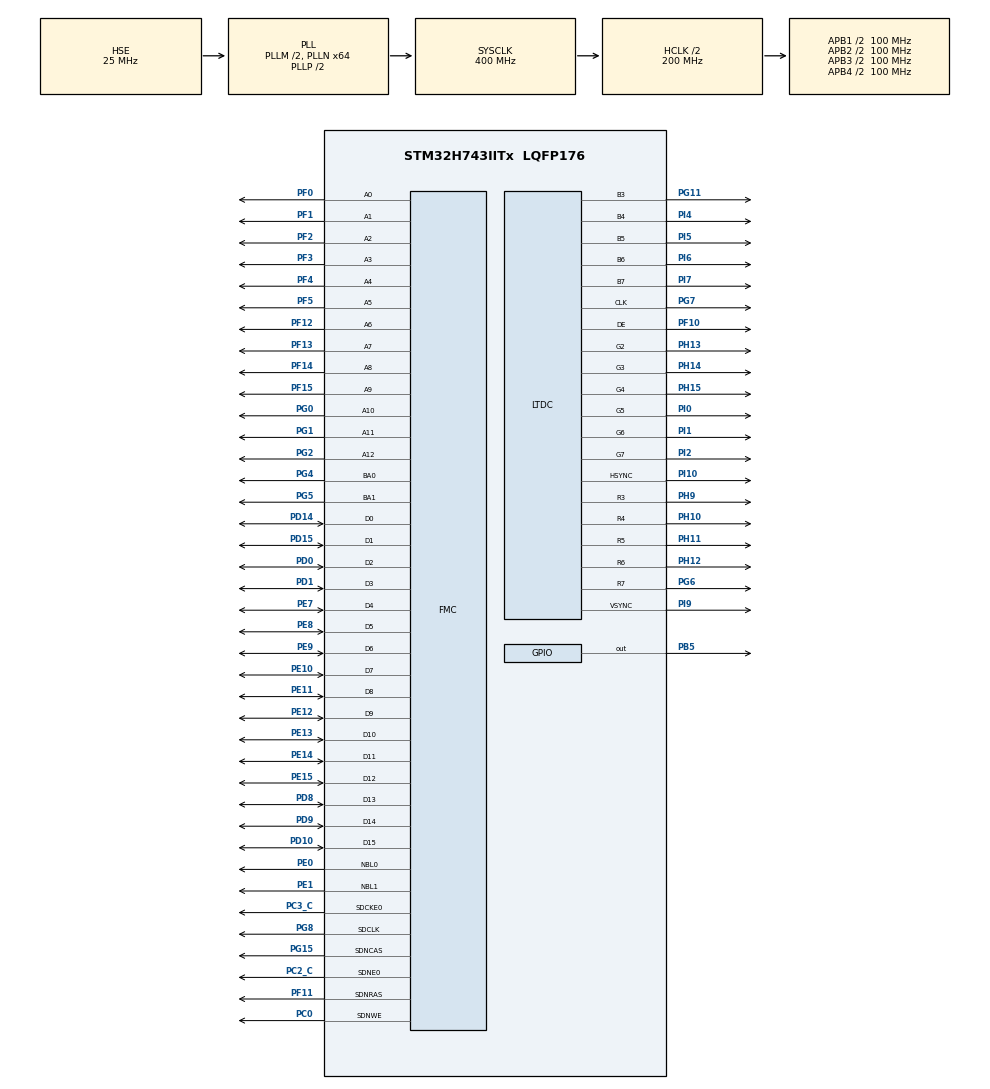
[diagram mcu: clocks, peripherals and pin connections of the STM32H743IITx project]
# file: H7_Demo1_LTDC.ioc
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CORTEX_M7.AccessPermission_Spec=MPU_REGION_FULL_ACCESS
CORTEX_M7.CPU_DCache=Enabled
CORTEX_M7.CPU_ICache=Enabled
CORTEX_M7.IsShareable_Spec=MPU_ACCESS_NOT_SHAREABLE
CORTEX_M7.TypeExtField_Spec=MPU_TEX_LEVEL1
CORTEX_M7.default_mode_Activation=1
DMA2D.ColorMode=DMA2D_OUTPUT_RGB565
DMA2D.Mode=DMA2D_R2M
FMC.CASLatency1=FMC_SDRAM_CAS_LATENCY_2
FMC.ColumnBitsNumber1=FMC_SDRAM_COLUMN_BITS_NUM_9
FMC.ExitSelfRefreshDelay1=8
FMC.LoadToActiveDelay1=2
FMC.RCDDelay1=3
FMC.RPDelay1=2
FMC.RPDelay2=2
FMC.ReadBurst1=FMC_SDRAM_RBURST_ENABLE
FMC.ReadBurst2=FMC_SDRAM_RBURST_ENABLE
FMC.RowCycleDelay1=6
FMC.RowCycleDelay2=6
FMC.SDClockPeriod1=FMC_SDRAM_CLOCK_PERIOD_2
FMC.SDClockPeriod2=FMC_SDRAM_CLOCK_PERIOD_2
FMC.SelfRefreshTime1=6
FMC.WriteRecoveryTime1=3
LTDC.ActiveH=600
LTDC.ActiveW=1024
LTDC.Alpha_L0=255
LTDC.Alpha_L1=255
LTDC.BlendingFactor1_L0=LTDC_BLENDING_FACTOR1_PAxCA
LTDC.BlendingFactor1_L1=LTDC_BLENDING_FACTOR1_PAxCA
LTDC.BlendingFactor2_L0=LTDC_BLENDING_FACTOR2_PAxCA
LTDC.BlendingFactor2_L1=LTDC_BLENDING_FACTOR2_PAxCA
LTDC.FBStartAdress_L0=0xc0000000
LTDC.FBStartAdress_L1=0xc0200000
LTDC.HBP=1407
LTDC.HFP=160
LTDC.HSync=20
LTDC.ImageHeight_L0=600
LTDC.ImageHeight_L1=600
LTDC.ImageWidth_L0=1024
LTDC.ImageWidth_L1=1024
LTDC.PixelFormat_L0=LTDC_PIXEL_FORMAT_RGB565
LTDC.PixelFormat_L1=LTDC_PIXEL_FORMAT_RGB565
LTDC.VBP=20
LTDC.VFP=22
LTDC.VSync=3
LTDC.WindowX0_L1=0
LTDC.WindowX1_L0=1024
LTDC.WindowX1_L1=1024
LTDC.WindowY0_L1=0
LTDC.WindowY1_L0=600
LTDC.WindowY1_L1=600
Mcu.Family=STM32H7
Mcu.Name=STM32H743IITx
Mcu.Package=LQFP176
NVIC.LTDC_IRQn=true\:14\:0\:true\:false\:true\:true\:true\:true
NVIC.PriorityGroup=NVIC_PRIORITYGROUP_4
PB5.Signal=GPIO_Output
PC0.Signal=FMC_SDNWE
PC14-OSC32_IN\ (OSC32_IN).Mode=LSE-External-Oscillator
PC14-OSC32_IN\ (OSC32_IN).Signal=RCC_OSC32_IN
PC15-OSC32_OUT\ (OSC32_OUT).Mode=LSE-External-Oscillator
PC15-OSC32_OUT\ (OSC32_OUT).Signal=RCC_OSC32_OUT
PC2_C.Mode=SdramChipSelect1_1
PC2_C.Signal=FMC_SDNE0
PC3_C.Mode=SdramChipSelect1_1
PC3_C.Signal=FMC_SDCKE0
PD0.Signal=FMC_D2_DA2
PD1.Signal=FMC_D3_DA3
PD10.Signal=FMC_D15_DA15
PD14.Signal=FMC_D0_DA0
PD15.Signal=FMC_D1_DA1
PD8.Signal=FMC_D13_DA13
PD9.Signal=FMC_D14_DA14
PE0.Signal=FMC_NBL0
PE1.Signal=FMC_NBL1
PE10.Signal=FMC_D7_DA7
PE11.Signal=FMC_D8_DA8
PE12.Signal=FMC_D9_DA9
PE13.Signal=FMC_D10_DA10
PE14.Signal=FMC_D11_DA11
PE15.Signal=FMC_D12_DA12
PE7.Signal=FMC_D4_DA4
PE8.Signal=FMC_D5_DA5
PE9.Signal=FMC_D6_DA6
PF0.Signal=FMC_A0
PF1.Signal=FMC_A1
PF10.GPIO_Speed=GPIO_SPEED_FREQ_VERY_HIGH
PF10.Mode=RGB565
PF10.Signal=LTDC_DE
PF11.Signal=FMC_SDNRAS
PF12.Signal=FMC_A6
PF13.Signal=FMC_A7
PF14.Signal=FMC_A8
PF15.Signal=FMC_A9
PF2.Signal=FMC_A2
PF3.Signal=FMC_A3
PF4.Signal=FMC_A4
PF5.Signal=FMC_A5
PG0.Signal=FMC_A10
PG1.Signal=FMC_A11
PG11.GPIO_Speed=GPIO_SPEED_FREQ_VERY_HIGH
PG11.Mode=RGB565
PG11.Signal=LTDC_B3
PG15.Signal=FMC_SDNCAS
PG2.Signal=FMC_A12
PG4.Signal=FMC_A14_BA0
PG5.Signal=FMC_A15_BA1
PG6.GPIO_Speed=GPIO_SPEED_FREQ_VERY_HIGH
PG6.Mode=RGB565
PG6.Signal=LTDC_R7
PG7.GPIO_Speed=GPIO_SPEED_FREQ_VERY_HIGH
PG7.Mode=RGB565
PG7.Signal=LTDC_CLK
PG8.Signal=FMC_SDCLK
PH0-OSC_IN\ (PH0).Mode=HSE-External-Oscillator
PH0-OSC_IN\ (PH0).Signal=RCC_OSC_IN
PH1-OSC_OUT\ (PH1).Mode=HSE-External-Oscillator
PH1-OSC_OUT\ (PH1).Signal=RCC_OSC_OUT
PH10.GPIO_Speed=GPIO_SPEED_FREQ_VERY_HIGH
PH10.Mode=RGB565
PH10.Signal=LTDC_R4
PH11.GPIO_Speed=GPIO_SPEED_FREQ_VERY_HIGH
PH11.Mode=RGB565
PH11.Signal=LTDC_R5
PH12.GPIO_Speed=GPIO_SPEED_FREQ_VERY_HIGH
PH12.Mode=RGB565
PH12.Signal=LTDC_R6
PH13.GPIO_Speed=GPIO_SPEED_FREQ_VERY_HIGH
PH13.Mode=RGB565
PH13.Signal=LTDC_G2
PH14.GPIO_Speed=GPIO_SPEED_FREQ_VERY_HIGH
PH14.Mode=RGB565
PH14.Signal=LTDC_G3
PH15.GPIO_Speed=GPIO_SPEED_FREQ_VERY_HIGH
PH15.Mode=RGB565
PH15.Signal=LTDC_G4
PH9.GPIO_Speed=GPIO_SPEED_FREQ_VERY_HIGH
PH9.Mode=RGB565
PH9.Signal=LTDC_R3
PI0.GPIO_Speed=GPIO_SPEED_FREQ_VERY_HIGH
PI0.Mode=RGB565
PI0.Signal=LTDC_G5
PI1.GPIO_Speed=GPIO_SPEED_FREQ_VERY_HIGH
PI1.Mode=RGB565
PI1.Signal=LTDC_G6
PI10.GPIO_Speed=GPIO_SPEED_FREQ_VERY_HIGH
PI10.Mode=RGB565
PI10.Signal=LTDC_HSYNC
PI2.GPIO_Speed=GPIO_SPEED_FREQ_VERY_HIGH
PI2.Mode=RGB565
PI2.Signal=LTDC_G7
PI4.GPIO_Speed=GPIO_SPEED_FREQ_VERY_HIGH
PI4.Mode=RGB565
PI4.Signal=LTDC_B4
PI5.GPIO_Speed=GPIO_SPEED_FREQ_VERY_HIGH
PI5.Mode=RGB565
PI5.Signal=LTDC_B5
PI6.GPIO_Speed=GPIO_SPEED_FREQ_VERY_HIGH
PI6.Mode=RGB565
PI6.Signal=LTDC_B6
PI7.GPIO_Speed=GPIO_SPEED_FREQ_VERY_HIGH
PI7.Mode=RGB565
PI7.Signal=LTDC_B7
PI9.GPIO_Speed=GPIO_SPEED_FREQ_VERY_HIGH
PI9.Mode=RGB565
PI9.Signal=LTDC_VSYNC
ProjectManager.HeapSize=0x200
ProjectManager.StackSize=0x400
ProjectManager.TargetToolchain=STM32CubeIDE
RCC.ADCFreq_Value=50390625
RCC.APB1Freq_Value=100000000
RCC.APB2Freq_Value=100000000
RCC.APB3Freq_Value=100000000
RCC.APB4Freq_Value=100000000
RCC.CortexFreq_Value=400000000
RCC.D1PPRE=RCC_APB3_DIV2
RCC.D2PPRE1=RCC_APB1_DIV2
RCC.D2PPRE2=RCC_APB2_DIV2
RCC.D3PPRE=RCC_APB4_DIV2
RCC.DIVM1=2
RCC.DIVM3=1
RCC.DIVN1=64
RCC.DIVN3=9
RCC.DIVR3=5
RCC.HCLKFreq_Value=200000000
RCC.HPRE=RCC_HCLK_DIV2
RCC.PLLFRACN=0
RCC.PLLSourceVirtual=RCC_PLLSOURCE_HSE
RCC.PWR_Regulator_Voltage_Scale=PWR_REGULATOR_VOLTAGE_SCALE1
RCC.SYSCLKFreq_VALUE=400000000
RCC.SYSCLKSource=RCC_SYSCLKSOURCE_PLLCLK
RCC.USBFreq_Value=400000000
SH.FMC_A0.0=FMC_A0,13b-sda1
SH.FMC_A1.0=FMC_A1,13b-sda1
SH.FMC_A10.0=FMC_A10,13b-sda1
SH.FMC_A11.0=FMC_A11,13b-sda1
SH.FMC_A12.0=FMC_A12,13b-sda1
SH.FMC_A14_BA0.0=FMC_BA0,FourSdramBanks1
SH.FMC_A15_BA1.0=FMC_BA1,FourSdramBanks1
SH.FMC_A2.0=FMC_A2,13b-sda1
SH.FMC_A3.0=FMC_A3,13b-sda1
SH.FMC_A4.0=FMC_A4,13b-sda1
SH.FMC_A5.0=FMC_A5,13b-sda1
SH.FMC_A6.0=FMC_A6,13b-sda1
SH.FMC_A7.0=FMC_A7,13b-sda1
SH.FMC_A8.0=FMC_A8,13b-sda1
SH.FMC_A9.0=FMC_A9,13b-sda1
SH.FMC_D0_DA0.0=FMC_D0,sd-16b-d1
SH.FMC_D10_DA10.0=FMC_D10,sd-16b-d1
SH.FMC_D11_DA11.0=FMC_D11,sd-16b-d1
SH.FMC_D12_DA12.0=FMC_D12,sd-16b-d1
SH.FMC_D13_DA13.0=FMC_D13,sd-16b-d1
SH.FMC_D14_DA14.0=FMC_D14,sd-16b-d1
SH.FMC_D15_DA15.0=FMC_D15,sd-16b-d1
SH.FMC_D1_DA1.0=FMC_D1,sd-16b-d1
SH.FMC_D2_DA2.0=FMC_D2,sd-16b-d1
SH.FMC_D3_DA3.0=FMC_D3,sd-16b-d1
SH.FMC_D4_DA4.0=FMC_D4,sd-16b-d1
SH.FMC_D5_DA5.0=FMC_D5,sd-16b-d1
SH.FMC_D6_DA6.0=FMC_D6,sd-16b-d1
SH.FMC_D7_DA7.0=FMC_D7,sd-16b-d1
SH.FMC_D8_DA8.0=FMC_D8,sd-16b-d1
SH.FMC_D9_DA9.0=FMC_D9,sd-16b-d1
SH.FMC_NBL0.0=FMC_NBL0,Sd2ByteEnable1
SH.FMC_NBL1.0=FMC_NBL1,Sd2ByteEnable1
SH.FMC_SDCLK.0=FMC_SDCLK,13b-sda1
SH.FMC_SDNCAS.0=FMC_SDNCAS,13b-sda1
SH.FMC_SDNRAS.0=FMC_SDNRAS,13b-sda1
SH.FMC_SDNWE.0=FMC_SDNWE,13b-sda1
VP_DMA2D_VS_DMA2D.Mode=DMA2D_Activate
board=custom

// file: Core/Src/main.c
/* USER CODE BEGIN Header */
/**
  ******************************************************************************
  * @file           : main.c
  * @brief          : Main program body
  ******************************************************************************
  * @attention
  *
  * Copyright (c) 2022 STMicroelectronics.
  * All rights reserved.
  *
  * This software is licensed under terms that can be found in the LICENSE file
  * in the root directory of this software component.
  * If no LICENSE file comes with this software, it is provided AS-IS.
  *
  ******************************************************************************
  */
/* USER CODE END Header */
#include "main.h"
#include "dma2d.h"
#include "ltdc.h"
#include "gpio.h"
#include "fmc.h"

/* USER CODE BEGIN Includes */
#include "bsp.h"
#include "fonts.h"
/* USER CODE END Includes */

void SystemClock_Config(void);
static void MPU_Config(void);

/* USER CODE BEGIN 0 */
WIN_T window1;
LABEL_T label1;
EDIT_T edit1;
BUTTON_T button1;
const extern uint32_t _aclufei[128*128*4];
const extern uint32_t _acsuolong[128*128*4];
const extern uint16_t _achuoying[128*128*2];
const extern uint16_t _acmickey[128*128*2];
/* USER CODE END 0 */

int main(void)
{
  /* USER CODE BEGIN 1 */
  FONT_T tFont12;			/* 定义一个字体结构体变量，用于设置字体参数 */
  FONT_T tFont16;			/* 定义一个字体结构体变量，用于设置字体参数 */

  /* 设置字体参数 */

		tFont12.FontCode = FC_ST_12;	    /* 字体代码 12点阵 */
		tFont12.FrontColor = CL_WHITE;		/* 字体颜色 */
		tFont12.BackColor = CL_BLUE;	    /* 文字背景颜色 */
		tFont12.Space = 0;					/* 文字间距，单位 = 像素 */

	/* 设置字体参数 */

		tFont16.FontCode = FC_ST_16;	    /* 字体代码 16点阵 */
		tFont16.FrontColor = CL_WHITE;		/* 字体颜色 */
		tFont16.BackColor = CL_BLUE;	    /* 文字背景颜色 */
		tFont16.Space = 0;					/* 文字间距，单位 = 像素 */

  /* USER CODE END 1 */

  /* MPU Configuration--------------------------------------------------------*/
  MPU_Config();

  /* Enable I-Cache---------------------------------------------------------*/
  SCB_EnableICache();

  /* Enable D-Cache---------------------------------------------------------*/
  SCB_EnableDCache();

  /* MCU Configuration--------------------------------------------------------*/

  /* Reset of all peripherals, Initializes the Flash interface and the Systick. */
  HAL_Init();

  /* Configure the system clock */
  SystemClock_Config();

  /* Initialize all configured peripherals */
  MX_GPIO_Init();
  MX_DMA2D_Init();
  MX_FMC_Init();
  MX_LTDC_Init();
  /* USER CODE BEGIN 2 */
  bsp_InitExtSDRAM(); /* 初始化SDRAM */
  LCD_InitHard();     /* 初始化LCD */
  HAL_Delay(200);

  /* 清屏 */
  LCD_ClrScr(CL_BLUE2);
  HAL_GPIO_WritePin(GPIOB, GPIO_PIN_5, 1);	/*开启背光*/

//  /* 显示汉字 */
//	LCD_DispStr(5, 3, "故人西辞黄鹤楼，烟花三月下扬州。", &tFont12);
//	LCD_DispStr(5, 18, "孤帆远影碧空尽，唯见长江天际流。", &tFont12);
//	LCD_DispStr(5, 38, "故人西辞黄鹤楼，烟花三月下扬州。", &tFont16);
//	LCD_DispStr(5, 58, "孤帆远影碧空尽，唯见长江天际流。", &tFont16);
//
//	/* 绘制2D图形 */
//	LCD_DrawLine(5, 120, 100, 220, CL_RED);
//
//	LCD_DrawRect(120, 120, 100, 100, CL_RED);
//	LCD_DrawCircle(280, 170, 50, CL_RED);
//	LCDH7_PutPixel(330, 100, CL_BUTTON_GREY);
//	LCD_Fill_Rect(340, 120, 100, 100, CL_BUTTON_GREY);
//
//	/*初始化win窗口*/
//	LCD_InitWin(&window1,1,450,120,200,200,CL_BUTTON_GREY,&tFont12,"窗口测试text");
//	LCD_DrawWin(&window1);
//
//	/*绘制标签*/
//	LCD_InitLabel(&label1, 1, 300, 50, 100, 100, 20, &tFont12, "标签测试text");
//	LCD_DrawLabel(&label1);
//
//	/*绘制bmp图*/
//	LCD_DrawBmp32(5,250,128,128,(uint8_t *)&_aclufei);
//
//	/*绘制按钮*/
//	LCD_InitButton(&button1, 300, 300, 120, 90, "按钮测试", &tFont12);
//	LCD_DrawButton(&button1);
//
//	/*编辑框测试*/
//	LCD_InitEdit(&edit1, 1, 170, 250, 100, 100, CL_BUTTON_GREY, &tFont12, "测试");
//	LCD_DrawEdit(&edit1);

  /* 第1个图：使用DMA2D刷色块 ##############################################################*/
	LCD_DispStr(24, 2, "DMA2D刷色块", &tFont16);
	_DMA2D_Fill((void*) (SDRAM_LCD_BUF1 + g_LcdWidth * 20 * 2 + 24 * 2), /* 显示起始地址(24, 20) */
							128, /* 色块长 */
							128, /* 色块高 */
							g_LcdWidth - 128, /* 色块行偏移 */
							CL_RED, /* 色块颜色 */
							LTDC_PIXEL_FORMAT_RGB565); /* 色块颜色格式 */
  /* USER CODE END 2 */

  /* Infinite loop */
  while (1)
  {

  }
}

void SystemClock_Config(void)
{
  RCC_OscInitTypeDef RCC_OscInitStruct = {0};
  RCC_ClkInitTypeDef RCC_ClkInitStruct = {0};

  /** Supply configuration update enable
  */
  HAL_PWREx_ConfigSupply(PWR_LDO_SUPPLY);

  /** Configure the main internal regulator output voltage
  */
  __HAL_PWR_VOLTAGESCALING_CONFIG(PWR_REGULATOR_VOLTAGE_SCALE1);

  while(!__HAL_PWR_GET_FLAG(PWR_FLAG_VOSRDY)) {}

  /** Macro to configure the PLL clock source
  */
  __HAL_RCC_PLL_PLLSOURCE_CONFIG(RCC_PLLSOURCE_HSE);

  /** Initializes the RCC Oscillators according to the specified parameters
  * in the RCC_OscInitTypeDef structure.
  */
  RCC_OscInitStruct.OscillatorType = RCC_OSCILLATORTYPE_HSE;
  RCC_OscInitStruct.HSEState = RCC_HSE_ON;
  RCC_OscInitStruct.PLL.PLLState = RCC_PLL_ON;
  RCC_OscInitStruct.PLL.PLLSource = RCC_PLLSOURCE_HSE;
  RCC_OscInitStruct.PLL.PLLM = 2;
  RCC_OscInitStruct.PLL.PLLN = 64;
  RCC_OscInitStruct.PLL.PLLP = 2;
  RCC_OscInitStruct.PLL.PLLQ = 2;
  RCC_OscInitStruct.PLL.PLLR = 2;
  RCC_OscInitStruct.PLL.PLLRGE = RCC_PLL1VCIRANGE_3;
  RCC_OscInitStruct.PLL.PLLVCOSEL = RCC_PLL1VCOWIDE;
  RCC_OscInitStruct.PLL.PLLFRACN = 0;
  if (HAL_RCC_OscConfig(&RCC_OscInitStruct) != HAL_OK)
  {
    Error_Handler();
  }

  /** Initializes the CPU, AHB and APB buses clocks
  */
  RCC_ClkInitStruct.ClockType = RCC_CLOCKTYPE_HCLK|RCC_CLOCKTYPE_SYSCLK
                              |RCC_CLOCKTYPE_PCLK1|RCC_CLOCKTYPE_PCLK2
                              |RCC_CLOCKTYPE_D3PCLK1|RCC_CLOCKTYPE_D1PCLK1;
  RCC_ClkInitStruct.SYSCLKSource = RCC_SYSCLKSOURCE_PLLCLK;
  RCC_ClkInitStruct.SYSCLKDivider = RCC_SYSCLK_DIV1;
  RCC_ClkInitStruct.AHBCLKDivider = RCC_HCLK_DIV2;
  RCC_ClkInitStruct.APB3CLKDivider = RCC_APB3_DIV2;
  RCC_ClkInitStruct.APB1CLKDivider = RCC_APB1_DIV2;
  RCC_ClkInitStruct.APB2CLKDivider = RCC_APB2_DIV2;
  RCC_ClkInitStruct.APB4CLKDivider = RCC_APB4_DIV2;

  if (HAL_RCC_ClockConfig(&RCC_ClkInitStruct, FLASH_LATENCY_2) != HAL_OK)
  {
    Error_Handler();
  }
}

/* MPU Configuration */

void MPU_Config(void)
{
  MPU_Region_InitTypeDef MPU_InitStruct = {0};

  /* Disables the MPU */
  HAL_MPU_Disable();

  /** Initializes and configures the Region and the memory to be protected
  */
  MPU_InitStruct.Enable = MPU_REGION_ENABLE;
  MPU_InitStruct.Number = MPU_REGION_NUMBER0;
  MPU_InitStruct.BaseAddress = 0x0;
  MPU_InitStruct.Size = MPU_REGION_SIZE_4GB;
  MPU_InitStruct.SubRegionDisable = 0x87;
  MPU_InitStruct.TypeExtField = MPU_TEX_LEVEL1;
  MPU_InitStruct.AccessPermission = MPU_REGION_FULL_ACCESS;
  MPU_InitStruct.DisableExec = MPU_INSTRUCTION_ACCESS_DISABLE;
  MPU_InitStruct.IsShareable = MPU_ACCESS_NOT_SHAREABLE;
  MPU_InitStruct.IsCacheable = MPU_ACCESS_NOT_CACHEABLE;
  MPU_InitStruct.IsBufferable = MPU_ACCESS_NOT_BUFFERABLE;

  HAL_MPU_ConfigRegion(&MPU_InitStruct);
  /* Enables the MPU */
  HAL_MPU_Enable(MPU_PRIVILEGED_DEFAULT);

}

void Error_Handler(void)
{
  __disable_irq();
  while (1)
  {
  }
}
